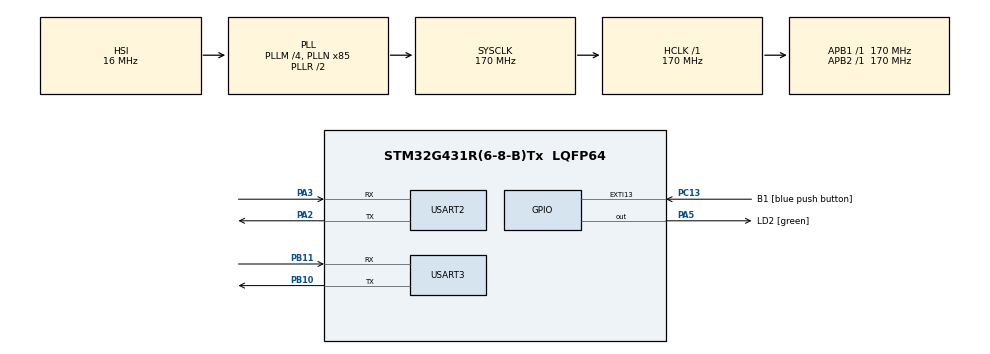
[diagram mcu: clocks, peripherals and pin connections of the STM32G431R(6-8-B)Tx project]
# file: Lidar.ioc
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Mcu.Family=STM32G4
Mcu.Name=STM32G431R(6-8-B)Tx
Mcu.Package=LQFP64
NVIC.PriorityGroup=NVIC_PRIORITYGROUP_4
NVIC.USART3_IRQn=true\:0\:0\:false\:false\:true\:true\:true\:true
PA10.Signal=USART1_RX
PA13.GPIO_Label=T_SWDIO
PA13.Signal=SYS_JTMS-SWDIO
PA14.GPIO_Label=T_SWCLK
PA14.Signal=SYS_JTCK-SWCLK
PA2.Mode=Asynchronous
PA2.Signal=USART2_TX
PA3.Mode=Asynchronous
PA3.Signal=USART2_RX
PA5.GPIO_Label=LD2 [green]
PA5.Signal=GPIO_Output
PA9.Signal=USART1_TX
PB10.Mode=Asynchronous
PB10.Signal=USART3_TX
PB11.Mode=Asynchronous
PB11.Signal=USART3_RX
PB3.GPIO_Label=T_SWO
PB3.Signal=SYS_JTDO-SWO
PC13.GPIO_Label=B1 [blue push button]
PC13.Signal=GPXTI13
PC14-OSC32_IN.GPIO_Label=RCC_OSC32_OUT
PC14-OSC32_IN.Signal=RCC_OSC32_IN
PC15-OSC32_OUT.GPIO_Label=RCC_OSC32_OUT
PC15-OSC32_OUT.Signal=RCC_OSC32_OUT
PF0-OSC_IN.GPIO_Label=RCC_OSC_IN
PF0-OSC_IN.Signal=RCC_OSC_IN
PF1-OSC_OUT.GPIO_Label=RCC_OSC_OUT
PF1-OSC_OUT.Signal=RCC_OSC_OUT
ProjectManager.HeapSize=0x200
ProjectManager.StackSize=0x400
ProjectManager.TargetToolchain=STM32CubeIDE
RCC.ADC12Freq_Value=170000000
RCC.AHBFreq_Value=170000000
RCC.APB1Freq_Value=170000000
RCC.APB1TimFreq_Value=170000000
RCC.APB2Freq_Value=170000000
RCC.APB2TimFreq_Value=170000000
RCC.CortexFreq_Value=170000000
RCC.EXTERNAL_CLOCK_VALUE=12288000
RCC.HCLKFreq_Value=170000000
RCC.HSE_VALUE=24000000
RCC.HSI48_VALUE=48000000
RCC.HSI_VALUE=16000000
RCC.LSE_VALUE=32768
RCC.PLLM=RCC_PLLM_DIV4
RCC.PLLN=85
RCC.RTCClockSelection=RCC_RTCCLKSOURCE_LSE
RCC.SYSCLKFreq_VALUE=170000000
RCC.SYSCLKSource=RCC_SYSCLKSOURCE_PLLCLK
RCC.USBFreq_Value=170000000
RCC.VCOOutputFreq_Value=340000000
USART2.VirtualMode-Asynchronous=VM_ASYNC
USART3.VirtualMode-Asynchronous=VM_ASYNC
VP_SYS_VS_DBSignals.Mode=DisableDeadBatterySignals
board=NUCLEO-G431RB

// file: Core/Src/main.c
/* USER CODE BEGIN Header */
/**
  ******************************************************************************
  * @file           : main.c
  * @brief          : Main program body
  ******************************************************************************
  * @attention
  *
  * Copyright (c) 2024 STMicroelectronics.
  * All rights reserved.
  *
  * This software is licensed under terms that can be found in the LICENSE file
  * in the root directory of this software component.
  * If no LICENSE file comes with this software, it is provided AS-IS.
  *
  ******************************************************************************
  */
/* USER CODE END Header */
#include "main.h"
#include "usart.h"
#include "gpio.h"
#include <stdlib.h>
#include <string.h>
#include <stdio.h>

/* USER CODE BEGIN PD */
#define LIDAR_TRAME_SIZE 522
/* USER CODE END PD */

/* USER CODE BEGIN PV */

// Traitement de texte

typedef enum {
    WAIT_SYNC1,
    WAIT_SYNC2,
    RECEIVE_DATA
} LIDAR_State;

LIDAR_State lidar_state = WAIT_SYNC1;

unsigned char uart_lidar_rx[1]; // Ce qu'envoie le lidar
unsigned char uart_pc_tx[2]; // Ce que reçoit le pc du lidar, variable qu'on peut "traiter"
unsigned char ral[2] = {'\r', '\n'};
char trame [LIDAR_TRAME_SIZE];
char sample_quantity[1];
char start_angle[2];
char end_angle[2];
char sample_data[2]; // Distance
uint8_t angle;
uint8_t distance;

// Algorithmie
int i = 0;
int first_data = 0;
int data_ready = 0;
uint8_t it_rx_lidar = 0; // Flag signalant l'arrivée de donnée via l'uart1, destiné au lidar

// Minicom
char uart_tx_buffer[128];

/* USER CODE END PV */

void SystemClock_Config(void);

/* USER CODE BEGIN 0 */
int __io_putchar(int ch)
{
	HAL_UART_Transmit(&huart2, (uint8_t *)&ch, 1, HAL_MAX_DELAY);
	return ch;
}
/* USER CODE END 0 */

int main(void)
{

  /* MCU Configuration--------------------------------------------------------*/

  /* Reset of all peripherals, Initializes the Flash interface and the Systick. */
  HAL_Init();

  /* Configure the system clock */
  SystemClock_Config();

  /* Initialize all configured peripherals */
  MX_GPIO_Init();
  MX_USART2_UART_Init();
  MX_USART3_UART_Init();
  /* USER CODE BEGIN 2 */
  HAL_UART_Receive_IT(&huart3, uart_lidar_rx, 1); // Active la réception de données en mode interruption
  /* USER CODE END 2 */

  /* Infinite loop */
  while (1)
  {

	  /* USER CODE BEGIN 3 */
	  if(it_rx_lidar){

		  // Traitement de texte
		  if (i < LIDAR_TRAME_SIZE){
			  trame[i] = uart_lidar_rx[0];
			  i++;
		  }
		  else {

		  }
		  it_rx_lidar = 0; // reinitialise notre reception
	  }

  }
  /* USER CODE END 3 */
}

void SystemClock_Config(void)
{
  RCC_OscInitTypeDef RCC_OscInitStruct = {0};
  RCC_ClkInitTypeDef RCC_ClkInitStruct = {0};

  /** Configure the main internal regulator output voltage
  */
  HAL_PWREx_ControlVoltageScaling(PWR_REGULATOR_VOLTAGE_SCALE1_BOOST);

  /** Initializes the RCC Oscillators according to the specified parameters
  * in the RCC_OscInitTypeDef structure.
  */
  RCC_OscInitStruct.OscillatorType = RCC_OSCILLATORTYPE_HSI;
  RCC_OscInitStruct.HSIState = RCC_HSI_ON;
  RCC_OscInitStruct.HSICalibrationValue = RCC_HSICALIBRATION_DEFAULT;
  RCC_OscInitStruct.PLL.PLLState = RCC_PLL_ON;
  RCC_OscInitStruct.PLL.PLLSource = RCC_PLLSOURCE_HSI;
  RCC_OscInitStruct.PLL.PLLM = RCC_PLLM_DIV4;
  RCC_OscInitStruct.PLL.PLLN = 85;
  RCC_OscInitStruct.PLL.PLLP = RCC_PLLP_DIV2;
  RCC_OscInitStruct.PLL.PLLQ = RCC_PLLQ_DIV2;
  RCC_OscInitStruct.PLL.PLLR = RCC_PLLR_DIV2;
  if (HAL_RCC_OscConfig(&RCC_OscInitStruct) != HAL_OK)
  {
    Error_Handler();
  }

  /** Initializes the CPU, AHB and APB buses clocks
  */
  RCC_ClkInitStruct.ClockType = RCC_CLOCKTYPE_HCLK|RCC_CLOCKTYPE_SYSCLK
                              |RCC_CLOCKTYPE_PCLK1|RCC_CLOCKTYPE_PCLK2;
  RCC_ClkInitStruct.SYSCLKSource = RCC_SYSCLKSOURCE_PLLCLK;
  RCC_ClkInitStruct.AHBCLKDivider = RCC_SYSCLK_DIV1;
  RCC_ClkInitStruct.APB1CLKDivider = RCC_HCLK_DIV1;
  RCC_ClkInitStruct.APB2CLKDivider = RCC_HCLK_DIV1;

  if (HAL_RCC_ClockConfig(&RCC_ClkInitStruct, FLASH_LATENCY_4) != HAL_OK)
  {
    Error_Handler();
  }
}

/* USER CODE BEGIN 4 */
void HAL_UART_RxCpltCallback(UART_HandleTypeDef *huart){
	if(huart == &huart3){

		switch (lidar_state){

			case WAIT_SYNC1:
				printf("WAIT_SYNC1\r\n");
				if(uart_lidar_rx[0] == 0xAA){
					lidar_state = WAIT_SYNC2;
				}
				break;

			case WAIT_SYNC2:
				printf("WAIT_SYNC2\r\n");
				if(uart_lidar_rx[0] == 0x55){
					printf("Trame synchronisée!\r\n");
					lidar_state = RECEIVE_DATA;
				}
				break;

			case RECEIVE_DATA:
				if (i < LIDAR_TRAME_SIZE){
					uart_pc_tx[0] = uart_lidar_rx[0];

					if(uart_lidar_rx[0] == 0xAA){ // Teste l'arrivée d'une nouvelle trame

						lidar_state = WAIT_SYNC2;
					}

					printf("Octet reçu : 0x%X\r\n", uart_pc_tx[0]);
				}
				else{
					lidar_state = WAIT_SYNC1;
				}
				break;
		}
		HAL_UART_Receive_IT(&huart3, uart_lidar_rx, 1); // Reactive la reception en interruption sans quoi on ne capterait qu'un seul octet

	}
}
/* USER CODE END 4 */

void Error_Handler(void)
{
  __disable_irq();
  while (1)
  {
  }
}
